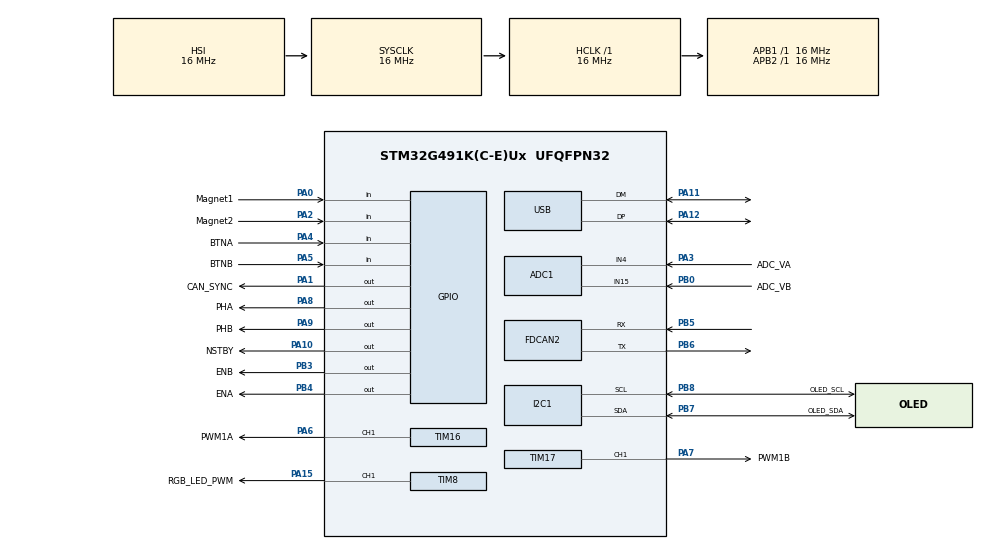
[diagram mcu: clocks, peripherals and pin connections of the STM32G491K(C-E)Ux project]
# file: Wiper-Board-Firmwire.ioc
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ADC1.Channel-1\#ChannelRegularConversion=ADC_CHANNEL_15
ADC1.NbrOfConversionFlag=1
ADC1.OffsetNumber-1\#ChannelRegularConversion=ADC_OFFSET_NONE
ADC1.Rank-1\#ChannelRegularConversion=1
ADC1.SamplingTime-1\#ChannelRegularConversion=ADC_SAMPLETIME_2CYCLES_5
ADC1.master=1
FDCAN2.CalculateBaudRateNominal=333333
FDCAN2.CalculateTimeBitNominal=3000
FDCAN2.CalculateTimeQuantumNominal=1000.0
I2C1.Timing=0x00503D58
Mcu.Family=STM32G4
Mcu.Name=STM32G491K(C-E)Ux
Mcu.Package=UFQFPN32
NVIC.PriorityGroup=NVIC_PRIORITYGROUP_4
PA0.GPIO_Label=Magnet1
PA0.Signal=GPIO_Input
PA1.GPIO_Label=CAN_SYNC
PA1.Signal=GPIO_Output
PA10.GPIO_Label=NSTBY
PA10.Signal=GPIO_Output
PA11.Mode=Device
PA11.Signal=USB_DM
PA12.Mode=Device
PA12.Signal=USB_DP
PA13.Signal=SYS_JTMS-SWDIO
PA14.Signal=SYS_JTCK-SWCLK
PA15.GPIO_Label=RGB_LED_PWM
PA15.Signal=S_TIM8_CH1
PA2.GPIO_Label=Magnet2
PA2.Signal=GPIO_Input
PA3.GPIO_Label=ADC_VA
PA3.Mode=IN4-Single-Ended
PA3.Signal=ADC1_IN4
PA4.GPIO_Label=BTNA
PA4.GPIO_PuPd=GPIO_PULLUP
PA4.Signal=GPIO_Input
PA5.GPIO_Label=BTNB
PA5.GPIO_PuPd=GPIO_PULLUP
PA5.Signal=GPIO_Input
PA6.GPIO_Label=PWM1A
PA6.Signal=S_TIM16_CH1
PA7.GPIO_Label=PWM1B
PA7.Signal=S_TIM17_CH1
PA8.GPIO_Label=PHA
PA8.Signal=GPIO_Output
PA9.GPIO_Label=PHB
PA9.Signal=GPIO_Output
PB0.GPIO_Label=ADC_VB
PB0.Mode=IN15-Single-Ended
PB0.Signal=ADC1_IN15
PB3.GPIO_Label=ENB
PB3.GPIO_ModeDefaultOutputPP=GPIO_MODE_OUTPUT_OD
PB3.Signal=GPIO_Output
PB4.GPIO_Label=ENA
PB4.GPIO_ModeDefaultOutputPP=GPIO_MODE_OUTPUT_OD
PB4.Signal=GPIO_Output
PB5.Mode=FDCAN_Activate
PB5.Signal=FDCAN2_RX
PB6.Mode=FDCAN_Activate
PB6.Signal=FDCAN2_TX
PB7.GPIO_Label=OLED_SDA
PB7.Mode=I2C
PB7.Signal=I2C1_SDA
PB8-BOOT0.GPIO_Label=OLED_SCL
PB8-BOOT0.Mode=I2C
PB8-BOOT0.Signal=I2C1_SCL
PF0-OSC_IN.Mode=HSE-External-Oscillator
PF0-OSC_IN.Signal=RCC_OSC_IN
PF1-OSC_OUT.Mode=HSE-External-Oscillator
PF1-OSC_OUT.Signal=RCC_OSC_OUT
ProjectManager.HeapSize=0x200
ProjectManager.StackSize=0x400
ProjectManager.TargetToolchain=STM32CubeIDE
RCC.AHBFreq_Value=16000000
RCC.APB1Freq_Value=16000000
RCC.APB1TimFreq_Value=16000000
RCC.APB2Freq_Value=16000000
RCC.APB2TimFreq_Value=16000000
RCC.CortexFreq_Value=16000000
RCC.EXTERNAL_CLOCK_VALUE=12288000
RCC.HCLKFreq_Value=16000000
RCC.HSE_VALUE=8000000
RCC.HSI48_VALUE=48000000
RCC.HSI_VALUE=16000000
RCC.LSE_VALUE=32768
RCC.SYSCLKFreq_VALUE=16000000
RCC.VCOOutputFreq_Value=128000000
SH.S_TIM16_CH1.0=TIM16_CH1,PWM Generation1 CH1
SH.S_TIM17_CH1.0=TIM17_CH1,PWM Generation1 CH1
SH.S_TIM8_CH1.0=TIM8_CH1,PWM Generation1 CH1
TIM16.Channel=TIM_CHANNEL_1
TIM17.Channel=TIM_CHANNEL_1
TIM8.Channel-PWM\ Generation1\ CH1=TIM_CHANNEL_1
VP_SYS_VS_DBSignals.Mode=DisableDeadBatterySignals
VP_TIM16_VS_ClockSourceINT.Mode=Enable_Timer
VP_TIM17_VS_ClockSourceINT.Mode=Enable_Timer
board=custom

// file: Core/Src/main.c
/* USER CODE BEGIN Header */
/* USER CODE END Header */
#include "main.h"
#include "adc.h"
#include "fdcan.h"
#include "i2c.h"
#include "tim.h"
#include "usb.h"
#include "gpio.h"

/* USER CODE BEGIN Includes */
#include "ws2812.h"
#include "motor.h"
#include "ssd1306.h"
#include "ssd1306_fonts.h"
#include "ssd1306_tests.h"
/* USER CODE END Includes */

/* USER CODE BEGIN PV */
/* Watch these in CubeIDE Live Expressions while testing motor A. */

volatile uint32_t      dbg_motorA_current_mA = 0;
volatile Motor_State_t dbg_motorA_state      = MOTOR_STATE_DISABLED;
volatile Motor_Fault_t dbg_motorA_fault      = MOTOR_FAULT_NONE;

/* USER CODE END PV */

void SystemClock_Config(void);

int main(void)
{

  /* MCU Configuration--------------------------------------------------------*/

  /* Reset of all peripherals, Initializes the Flash interface and the Systick. */
  HAL_Init();

  /* Configure the system clock */
  SystemClock_Config();

  /* Initialize all configured peripherals */
  MX_GPIO_Init();
  MX_ADC1_Init();
  MX_I2C1_Init();
  MX_FDCAN2_Init();
  MX_TIM16_Init();
  MX_TIM17_Init();
  MX_USB_PCD_Init();
  MX_TIM8_Init();
  /* USER CODE BEGIN 2 */
  WS2812_Init();
  /* Boot beacon: LED 0 dim blue the moment firmware reaches main().
   * If this never lights, the code isn't running (see BOOT0 note) or the
   * WS2812 wiring/timer is the problem, not the later init steps. */
  WS2812_Init();
  WS2812_SetAll(0, 0, 0);
  WS2812_SetPixel(0, 0, 0, 40);
  WS2812_Show();

  /* Bench test: motor A only, forward, full duty, runs continuously. */
  Motor_Init();
  Motor_Select(MOTOR_1);
  Motor_SetDirection(MOTOR_1, MOTOR_DIR_FORWARD);
  Motor_SetSpeed(MOTOR_1, 100);
  Motor_Start(MOTOR_1);

  /* OLED (SSD1306 on I2C1: PB7 SDA / PB8 SCL). Probe first; if nothing
   * ACKs at SSD1306_I2C_ADDR (0x3C; try 0x3D in ssd1306_config.h if your
   * module is strapped that way) skip it instead of blocking the motor loop.
   * LED 1 = green: OLED found, red: no ACK on the bus. */
  if (HAL_I2C_IsDeviceReady(&hi2c1, SSD1306_I2C_ADDR, 2, 20) == HAL_OK)
  {
    ssd1306_Init();
    ssd1306_Fill(Black);
    ssd1306_DrawRectangle(0, 0, SSD1306_WIDTH - 1, SSD1306_HEIGHT - 1, White);
    ssd1306_SetCursor(8, 8);
    ssd1306_WriteString("Wiper Board", Font_11x18, White);
    ssd1306_SetCursor(8, 32);
    ssd1306_WriteString("OLED test OK", Font_7x10, White);
    ssd1306_UpdateScreen();
    WS2812_SetPixel(1, 0, 40, 0);
  }
  else
  {
    WS2812_SetPixel(1, 40, 0, 0);
  }
  WS2812_Show();

  uint32_t led_tick = HAL_GetTick();
  uint32_t led_index = 0;
  /* USER CODE END 2 */

  /* Infinite loop */
  while (1)
  {
    /* USER CODE BEGIN WHILE */
    /* Nothing in this loop may block: Motor_Process() needs to run every ms
     * to catch STSPIN948 faults and stalls. */
    Motor_Process();

    dbg_motorA_current_mA = Motor_GetCurrent_mA(MOTOR_1);
    dbg_motorA_state      = Motor_GetState(MOTOR_1);
    dbg_motorA_fault      = Motor_GetFault(MOTOR_1);

    if ((HAL_GetTick() - led_tick) >= 200U)
    {
      led_tick = HAL_GetTick();

      switch (dbg_motorA_state)
      {
        case MOTOR_STATE_RUNNING:                  /* green chase: running fine */
          WS2812_SetAll(0, 0, 0);
          WS2812_SetPixel(led_index, 0, 255, 0);
          led_index = (led_index + 1U) % WS2812_NUM_LEDS;
          break;

        case MOTOR_STATE_FAULT_LOCKOUT:            /* solid red: gave up */
          WS2812_SetAll(255, 0, 0);
          break;

        default:                                   /* solid yellow: starting / retrying */
          WS2812_SetAll(255, 160, 0);
          break;
      }
      WS2812_Show();
    }
    /* USER CODE END WHILE */

  }
}

void SystemClock_Config(void)
{
  RCC_OscInitTypeDef RCC_OscInitStruct = {0};
  RCC_ClkInitTypeDef RCC_ClkInitStruct = {0};

  /** Configure the main internal regulator output voltage
  */
  HAL_PWREx_ControlVoltageScaling(PWR_REGULATOR_VOLTAGE_SCALE1);

  /** Initializes the RCC Oscillators according to the specified parameters
  * in the RCC_OscInitTypeDef structure.
  */
  RCC_OscInitStruct.OscillatorType = RCC_OSCILLATORTYPE_HSI|RCC_OSCILLATORTYPE_HSI48;
  RCC_OscInitStruct.HSIState = RCC_HSI_ON;
  RCC_OscInitStruct.HSICalibrationValue = RCC_HSICALIBRATION_DEFAULT;
  RCC_OscInitStruct.HSI48State = RCC_HSI48_ON;
  RCC_OscInitStruct.PLL.PLLState = RCC_PLL_NONE;
  if (HAL_RCC_OscConfig(&RCC_OscInitStruct) != HAL_OK)
  {
    Error_Handler();
  }

  /** Initializes the CPU, AHB and APB buses clocks
  */
  RCC_ClkInitStruct.ClockType = RCC_CLOCKTYPE_HCLK|RCC_CLOCKTYPE_SYSCLK
                              |RCC_CLOCKTYPE_PCLK1|RCC_CLOCKTYPE_PCLK2;
  RCC_ClkInitStruct.SYSCLKSource = RCC_SYSCLKSOURCE_HSI;
  RCC_ClkInitStruct.AHBCLKDivider = RCC_SYSCLK_DIV1;
  RCC_ClkInitStruct.APB1CLKDivider = RCC_HCLK_DIV1;
  RCC_ClkInitStruct.APB2CLKDivider = RCC_HCLK_DIV1;

  if (HAL_RCC_ClockConfig(&RCC_ClkInitStruct, FLASH_LATENCY_0) != HAL_OK)
  {
    Error_Handler();
  }
}

void Error_Handler(void)
{
  /* USER CODE BEGIN Error_Handler_Debug */
  /* Make the power stage safe before hanging: both bridges off, STSPIN948
   * in standby. Harmless if GPIO clocks aren't on yet. */
  __disable_irq();
  HAL_GPIO_WritePin(ENA_GPIO_Port, ENA_Pin, GPIO_PIN_RESET);
  HAL_GPIO_WritePin(ENB_GPIO_Port, ENB_Pin, GPIO_PIN_RESET);
  HAL_GPIO_WritePin(NSTBY_GPIO_Port, NSTBY_Pin, GPIO_PIN_RESET);
  while (1)
  {
  }
  /* USER CODE END Error_Handler_Debug */
}
